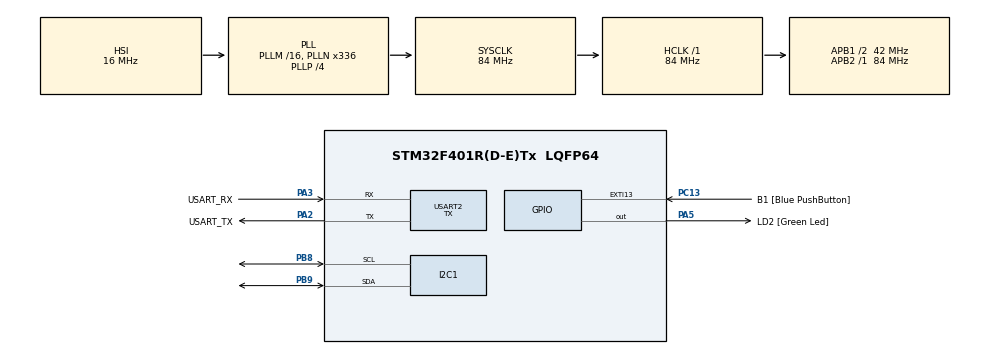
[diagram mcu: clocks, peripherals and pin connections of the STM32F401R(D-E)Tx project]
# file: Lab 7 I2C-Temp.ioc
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Mcu.Family=STM32F4
Mcu.Name=STM32F401R(D-E)Tx
Mcu.Package=LQFP64
NVIC.PriorityGroup=NVIC_PRIORITYGROUP_1
NVIC.TIM2_IRQn=true\:1\:0\:true\:false\:true\:true\:true\:true
NVIC.USART2_IRQn=true\:0\:0\:false\:false\:true\:true\:true\:true
PA13.GPIO_Label=TMS
PA13.Mode=Serial_Wire
PA13.Signal=SYS_JTMS-SWDIO
PA14.GPIO_Label=TCK
PA14.Mode=Serial_Wire
PA14.Signal=SYS_JTCK-SWCLK
PA2.GPIO_Label=USART_TX
PA2.GPIO_Mode=GPIO_MODE_AF_PP
PA2.GPIO_PuPd=GPIO_NOPULL
PA2.GPIO_Speed=GPIO_SPEED_FREQ_LOW
PA2.Mode=Asynchronous
PA2.Signal=USART2_TX
PA3.GPIO_Label=USART_RX
PA3.GPIO_Mode=GPIO_MODE_AF_PP
PA3.GPIO_PuPd=GPIO_NOPULL
PA3.GPIO_Speed=GPIO_SPEED_FREQ_LOW
PA3.Mode=Asynchronous
PA3.Signal=USART2_RX
PA5.GPIO_Label=LD2 [Green Led]
PA5.GPIO_Mode=GPIO_MODE_OUTPUT_PP
PA5.GPIO_PuPd=GPIO_NOPULL
PA5.GPIO_Speed=GPIO_SPEED_FREQ_LOW
PA5.Signal=GPIO_Output
PB3.GPIO_Label=SWO
PB3.Signal=SYS_JTDO-SWO
PB8.Mode=I2C
PB8.Signal=I2C1_SCL
PB9.Mode=I2C
PB9.Signal=I2C1_SDA
PC13-ANTI_TAMP.GPIO_Label=B1 [Blue PushButton]
PC13-ANTI_TAMP.GPIO_ModeDefaultEXTI=GPIO_MODE_IT_FALLING
PC13-ANTI_TAMP.GPIO_PuPd=GPIO_NOPULL
PC13-ANTI_TAMP.Signal=GPXTI13
PC14-OSC32_IN.Mode=LSE-External-Oscillator
PC14-OSC32_IN.Signal=RCC_OSC32_IN
PC15-OSC32_OUT.Mode=LSE-External-Oscillator
PC15-OSC32_OUT.Signal=RCC_OSC32_OUT
PH0\ -\ OSC_IN.Mode=HSE-External-Clock-Source
PH0\ -\ OSC_IN.Signal=RCC_OSC_IN
PH1\ -\ OSC_OUT.Mode=HSE-External-Clock-Source
PH1\ -\ OSC_OUT.Signal=RCC_OSC_OUT
ProjectManager.HeapSize=0x200
ProjectManager.StackSize=0x400
ProjectManager.TargetToolchain=STM32CubeIDE
RCC.48MHZClocksFreq_Value=48000000
RCC.AHBFreq_Value=84000000
RCC.APB1CLKDivider=RCC_HCLK_DIV2
RCC.APB1Freq_Value=42000000
RCC.APB1TimFreq_Value=84000000
RCC.APB2Freq_Value=84000000
RCC.APB2TimFreq_Value=84000000
RCC.CortexFreq_Value=84000000
RCC.HCLKFreq_Value=84000000
RCC.HSE_VALUE=8000000
RCC.HSI_VALUE=16000000
RCC.PLLN=336
RCC.PLLP=RCC_PLLP_DIV4
RCC.PLLQ=7
RCC.SYSCLKFreq_VALUE=84000000
RCC.SYSCLKSource=RCC_SYSCLKSOURCE_PLLCLK
RCC.VCOOutputFreq_Value=336000000
TIM2.Period=10000-1
TIM2.Prescaler=8400-1
USART2.Mode=MODE_TX
USART2.VirtualMode=VM_ASYNC
VP_TIM2_VS_ClockSourceINT.Mode=Internal
board=NUCLEO-F401RE

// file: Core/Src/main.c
/* USER CODE BEGIN Header */
/**
 ******************************************************************************
 * @file           : main.c
 * @brief          : Main program body
 ******************************************************************************
 * @attention
 *
 * Copyright (c) 2023 STMicroelectronics.
 * All rights reserved.
 *
 * This software is licensed under terms that can be found in the LICENSE file
 * in the root directory of this software component.
 * If no LICENSE file comes with this software, it is provided AS-IS.
 *
 ******************************************************************************
 */
/* USER CODE END Header */
#include "main.h"

/* USER CODE BEGIN Includes */
#include <string.h>
#include <stdio.h>
#include <stdlib.h>
/* USER CODE END Includes */

/* USER CODE BEGIN PD */
#define QUEUE_SIZE 100
/* USER CODE END PD */

I2C_HandleTypeDef hi2c1;

TIM_HandleTypeDef htim2;

UART_HandleTypeDef huart2;

void SystemClock_Config(void);
static void MX_GPIO_Init(void);
static void MX_USART2_UART_Init(void);
static void MX_I2C1_Init(void);
static void MX_TIM2_Init(void);

/* USER CODE BEGIN 0 */
float bitToTemp(uint8_t data[2]) {
	data[1] = (data[1] >> 5) & 0b00000111;
	float temp = (int8_t) data[0] + (float) ((data[1] >> 0) & 0b00000001) / 8.0
			+ (float) ((data[1] >> 1) & 0b00000001) / 4.0
			+ (float) ((data[1] >> 2) & 0b00000001) / 2.0;
	return temp;
}

void HAL_TIM_PeriodElapsedCallback(TIM_HandleTypeDef *htim) {

	if (htim->Instance == TIM2) {
		static uint8_t data[2];
		char string[128];
		static float prev = 0;

		if (HAL_I2C_Master_Receive(&hi2c1, 0b10010001, data, 2, 1000)
				== HAL_OK) {

			float temp = bitToTemp(data);
			//if prev value differs from current by 0.875 or more deg then ask again and send that value which probably is correct
			if (abs((int)prev - (int)temp) >= 1 && HAL_I2C_Master_Receive(&hi2c1, 0b10010001, data, 2, 1000) == HAL_OK) {
				temp = bitToTemp(data);
			}

			snprintf(string, sizeof(string), "Temp: %.1f\r\n", temp);
			prev = temp;

		} else {
			snprintf(string, sizeof(string),
					"Error occurred during readout\r\n");
		}

		HAL_UART_Transmit(&huart2, (uint8_t*) string, strlen(string), 100);

	}
}
/* USER CODE END 0 */

int main(void)
{

  /* MCU Configuration--------------------------------------------------------*/

  /* Reset of all peripherals, Initializes the Flash interface and the Systick. */
  HAL_Init();

  /* Configure the system clock */
  SystemClock_Config();

  /* Initialize all configured peripherals */
  MX_GPIO_Init();
  MX_USART2_UART_Init();
  MX_I2C1_Init();
  MX_TIM2_Init();
  /* USER CODE BEGIN 2 */
	const uint8_t pin = 0b0000000;
	HAL_I2C_Master_Transmit(&hi2c1, 0b10010000, &pin, 1, 1000);

	HAL_TIM_Base_Start_IT(&htim2);
  /* USER CODE END 2 */

  /* Infinite loop */
	while (1) {

	}
}

void SystemClock_Config(void)
{
  RCC_OscInitTypeDef RCC_OscInitStruct = {0};
  RCC_ClkInitTypeDef RCC_ClkInitStruct = {0};

  /** Configure the main internal regulator output voltage
  */
  __HAL_RCC_PWR_CLK_ENABLE();
  __HAL_PWR_VOLTAGESCALING_CONFIG(PWR_REGULATOR_VOLTAGE_SCALE2);

  /** Initializes the RCC Oscillators according to the specified parameters
  * in the RCC_OscInitTypeDef structure.
  */
  RCC_OscInitStruct.OscillatorType = RCC_OSCILLATORTYPE_HSI;
  RCC_OscInitStruct.HSIState = RCC_HSI_ON;
  RCC_OscInitStruct.HSICalibrationValue = RCC_HSICALIBRATION_DEFAULT;
  RCC_OscInitStruct.PLL.PLLState = RCC_PLL_ON;
  RCC_OscInitStruct.PLL.PLLSource = RCC_PLLSOURCE_HSI;
  RCC_OscInitStruct.PLL.PLLM = 16;
  RCC_OscInitStruct.PLL.PLLN = 336;
  RCC_OscInitStruct.PLL.PLLP = RCC_PLLP_DIV4;
  RCC_OscInitStruct.PLL.PLLQ = 7;
  if (HAL_RCC_OscConfig(&RCC_OscInitStruct) != HAL_OK)
  {
    Error_Handler();
  }

  /** Initializes the CPU, AHB and APB buses clocks
  */
  RCC_ClkInitStruct.ClockType = RCC_CLOCKTYPE_HCLK|RCC_CLOCKTYPE_SYSCLK
                              |RCC_CLOCKTYPE_PCLK1|RCC_CLOCKTYPE_PCLK2;
  RCC_ClkInitStruct.SYSCLKSource = RCC_SYSCLKSOURCE_PLLCLK;
  RCC_ClkInitStruct.AHBCLKDivider = RCC_SYSCLK_DIV1;
  RCC_ClkInitStruct.APB1CLKDivider = RCC_HCLK_DIV2;
  RCC_ClkInitStruct.APB2CLKDivider = RCC_HCLK_DIV1;

  if (HAL_RCC_ClockConfig(&RCC_ClkInitStruct, FLASH_LATENCY_2) != HAL_OK)
  {
    Error_Handler();
  }
}

static void MX_I2C1_Init(void)
{

  hi2c1.Instance = I2C1;
  hi2c1.Init.ClockSpeed = 100000;
  hi2c1.Init.DutyCycle = I2C_DUTYCYCLE_2;
  hi2c1.Init.OwnAddress1 = 0;
  hi2c1.Init.AddressingMode = I2C_ADDRESSINGMODE_7BIT;
  hi2c1.Init.DualAddressMode = I2C_DUALADDRESS_DISABLE;
  hi2c1.Init.OwnAddress2 = 0;
  hi2c1.Init.GeneralCallMode = I2C_GENERALCALL_DISABLE;
  hi2c1.Init.NoStretchMode = I2C_NOSTRETCH_DISABLE;
  if (HAL_I2C_Init(&hi2c1) != HAL_OK)
  {
    Error_Handler();
  }

}

static void MX_TIM2_Init(void)
{

  TIM_ClockConfigTypeDef sClockSourceConfig = {0};
  TIM_MasterConfigTypeDef sMasterConfig = {0};

  htim2.Instance = TIM2;
  htim2.Init.Prescaler = 8400-1;
  htim2.Init.CounterMode = TIM_COUNTERMODE_UP;
  htim2.Init.Period = 10000-1;
  htim2.Init.ClockDivision = TIM_CLOCKDIVISION_DIV1;
  htim2.Init.AutoReloadPreload = TIM_AUTORELOAD_PRELOAD_DISABLE;
  if (HAL_TIM_Base_Init(&htim2) != HAL_OK)
  {
    Error_Handler();
  }
  sClockSourceConfig.ClockSource = TIM_CLOCKSOURCE_INTERNAL;
  if (HAL_TIM_ConfigClockSource(&htim2, &sClockSourceConfig) != HAL_OK)
  {
    Error_Handler();
  }
  sMasterConfig.MasterOutputTrigger = TIM_TRGO_RESET;
  sMasterConfig.MasterSlaveMode = TIM_MASTERSLAVEMODE_DISABLE;
  if (HAL_TIMEx_MasterConfigSynchronization(&htim2, &sMasterConfig) != HAL_OK)
  {
    Error_Handler();
  }

}

static void MX_USART2_UART_Init(void)
{

  huart2.Instance = USART2;
  huart2.Init.BaudRate = 115200;
  huart2.Init.WordLength = UART_WORDLENGTH_8B;
  huart2.Init.StopBits = UART_STOPBITS_1;
  huart2.Init.Parity = UART_PARITY_NONE;
  huart2.Init.Mode = UART_MODE_TX;
  huart2.Init.HwFlowCtl = UART_HWCONTROL_NONE;
  huart2.Init.OverSampling = UART_OVERSAMPLING_16;
  if (HAL_UART_Init(&huart2) != HAL_OK)
  {
    Error_Handler();
  }

}

static void MX_GPIO_Init(void)
{
  GPIO_InitTypeDef GPIO_InitStruct = {0};

  /* GPIO Ports Clock Enable */
  __HAL_RCC_GPIOC_CLK_ENABLE();
  __HAL_RCC_GPIOH_CLK_ENABLE();
  __HAL_RCC_GPIOA_CLK_ENABLE();
  __HAL_RCC_GPIOB_CLK_ENABLE();

  /*Configure GPIO pin Output Level */
  HAL_GPIO_WritePin(LD2_GPIO_Port, LD2_Pin, GPIO_PIN_RESET);

  /*Configure GPIO pin : B1_Pin */
  GPIO_InitStruct.Pin = B1_Pin;
  GPIO_InitStruct.Mode = GPIO_MODE_IT_FALLING;
  GPIO_InitStruct.Pull = GPIO_NOPULL;
  HAL_GPIO_Init(B1_GPIO_Port, &GPIO_InitStruct);

  /*Configure GPIO pin : LD2_Pin */
  GPIO_InitStruct.Pin = LD2_Pin;
  GPIO_InitStruct.Mode = GPIO_MODE_OUTPUT_PP;
  GPIO_InitStruct.Pull = GPIO_NOPULL;
  GPIO_InitStruct.Speed = GPIO_SPEED_FREQ_LOW;
  HAL_GPIO_Init(LD2_GPIO_Port, &GPIO_InitStruct);

}

void Error_Handler(void)
{
	__disable_irq();
	while (1) {
	}
}
